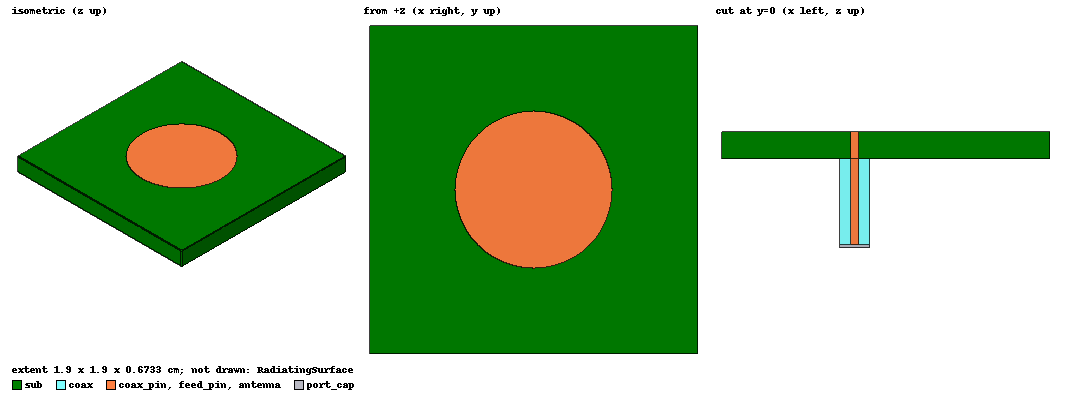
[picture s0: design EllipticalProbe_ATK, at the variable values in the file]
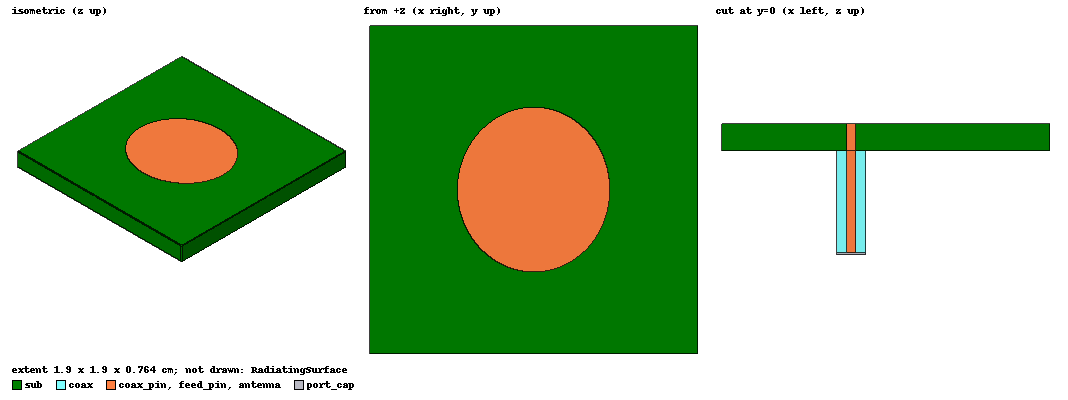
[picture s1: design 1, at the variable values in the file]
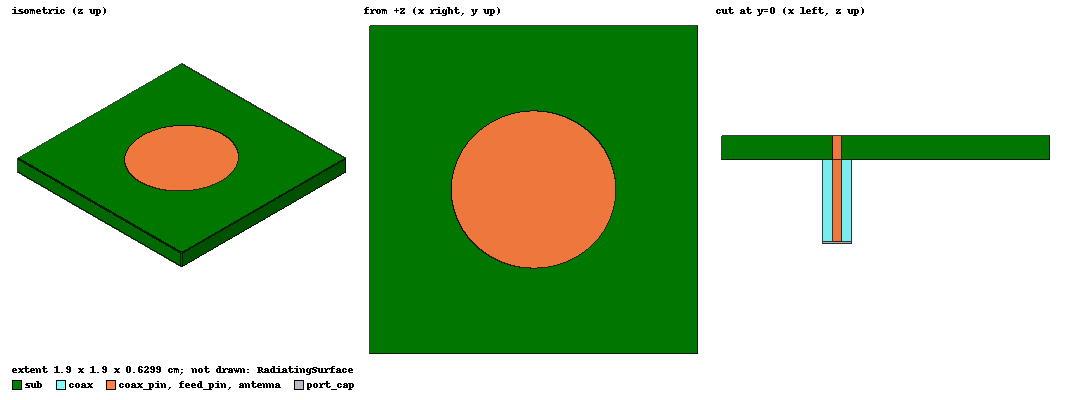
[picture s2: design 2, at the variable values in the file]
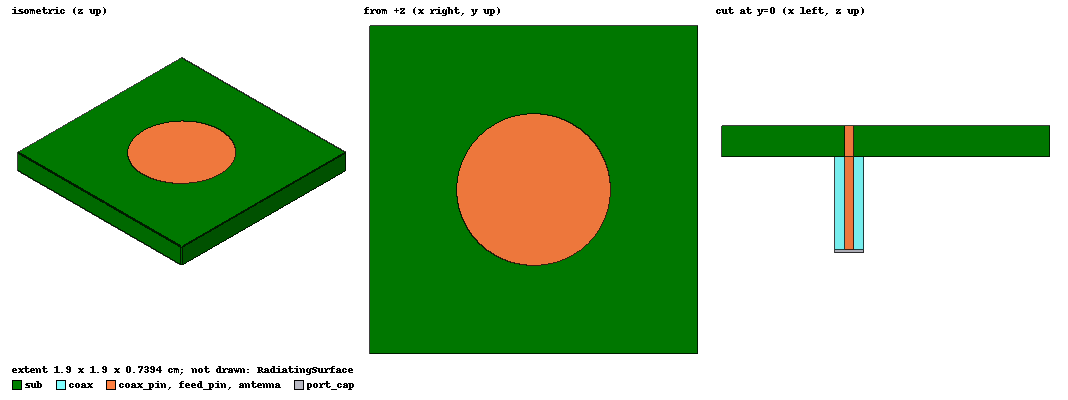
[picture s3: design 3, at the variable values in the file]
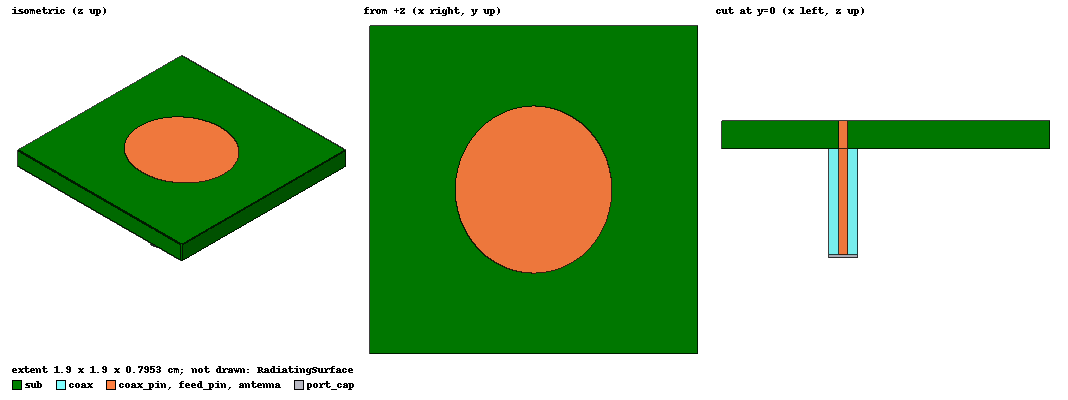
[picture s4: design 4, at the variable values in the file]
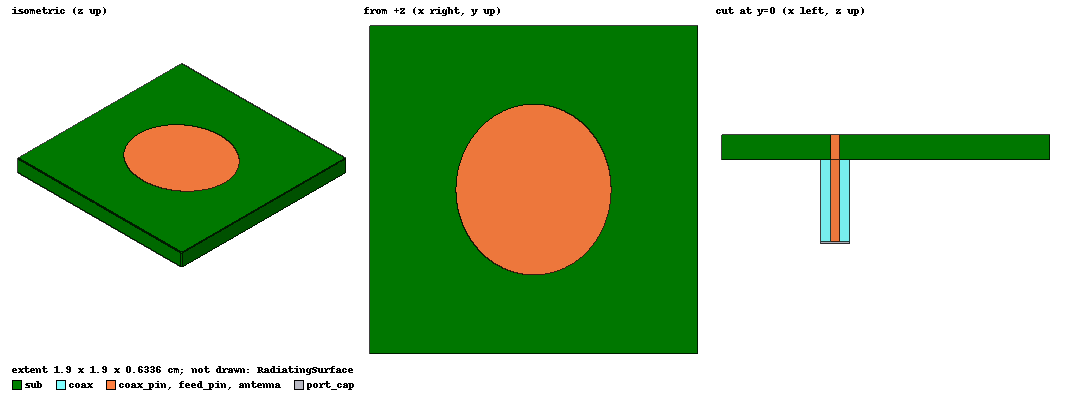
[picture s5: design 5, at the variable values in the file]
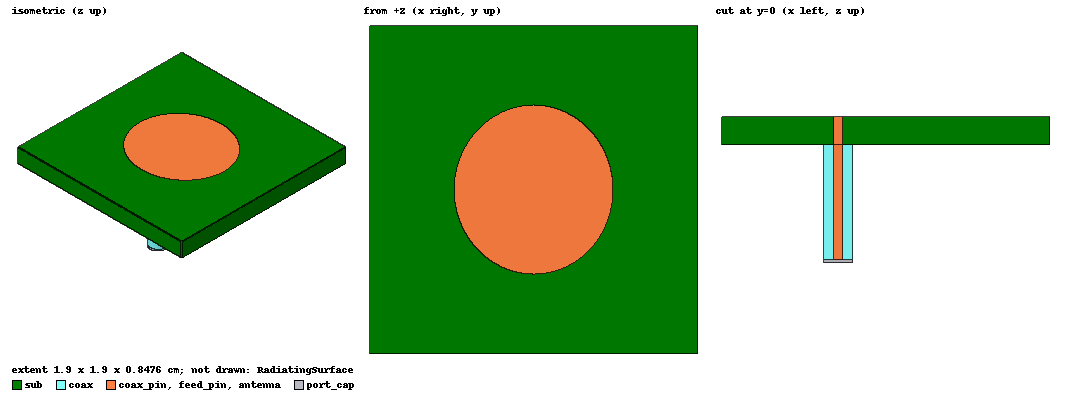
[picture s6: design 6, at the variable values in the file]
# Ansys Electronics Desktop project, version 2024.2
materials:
  vacuum: permittivity=1
  Duroid (tm): permittivity=2.2 dielectric_loss_tangent=0.0009
  pec: conductivity=1e+30
  Teflon (tm): permittivity=2.1 dielectric_loss_tangent=0.001

design EllipticalProbe_ATK (HFSS, HFSS Hybrid Terminal Network, model units cm)
options: Allow_Material_Override Save_Adaptive_support_files open_region{BoundaryType=0 OpFreq=12GHz}
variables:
  # --Antenna Dimensions
  patchX = 0.91cm
  patchY = 0.91cm
  # --Substrate Dimensions
  subH = 0.1575cm
  subX = 1.9cm
  subY = 1.9cm
  # --Feed Dimensions
  feedX = 0.18cm
  feedY = 0cm
  coax_inner_rad = 0.025cm
  coax_outer_rad = 0.085cm
  feedLength = 0.5cm
  design_freq = 10GHz
  gnd_x = 1.9cm
  gnd_y = 1.9cm
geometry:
  sub [Duroid (tm)] = box(corner=(-subX/2, -subY/2, 0cm), size=(subX, subY, subH))
  Ground = rectangle(corner=(-gnd_x/2, -gnd_y/2, 0cm), x_size=gnd_x, y_size=gnd_y)
  antenna = ellipse(normal=Z, centre=(0cm, 0cm, subH), major_radius=patchX/2, ratio=patchY/patchX)
  NewObject_BCY01R = circle(normal=Z, centre=(feedX, feedY, 0cm), radius=coax_outer_rad)
  Ground.subtract(NewObject_BCY01R)
  feed_pin [pec] = cylinder(axis=Z, base_centre=(feedX, feedY, 0cm), radius=coax_inner_rad, height=subH)
  coax_pin [pec] = cylinder(axis=Z, base_centre=(feedX, feedY, 0cm), radius=coax_inner_rad, height=-feedLength)
  coax [Teflon (tm)] = cylinder(axis=Z, base_centre=(feedX, feedY, 0cm), radius=coax_outer_rad, height=-feedLength)
  port_cap [pec] = cylinder(axis=Z, base_centre=(feedX, feedY, -feedLength), radius=coax_outer_rad, height=-subH/10)
  port1 = circle(normal=Z, centre=(feedX, feedY, -feedLength), radius=coax_outer_rad)
  RadiatingSurface [vacuum] = region(absolute_offset=0.83333333cm on all sides)
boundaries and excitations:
  antennaMetal: Perfect E Objects=antenna
  coax_outer: Perfect E Faces=coax.face(side)
  groundMetal: Perfect E Objects=Ground
  AutoOpen1: Radiation Objects=RadiatingSurface
  coax_pin_T1: Terminal port=1 Faces=coax_pin.face(-z end) TerminalResistance=50ohm
  1: Wave Port Faces=port1.face WavePortType=Terminal NumModes=1
  reference conductors: port_cap
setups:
  ATK_Solution: HfssDriven Frequency=12GHz MaxDeltaS=0.02 MaximumPasses=15 MinimumPasses=1 MinimumConvergedPasses=1 PercentRefinement=30 BasisOrder=1 PortAccuracy=2 DrivenSolverType="Direct Solver" IESolverType=ACA
    sweep SParam_Sweep: 6GHz to 18GHz step 0.05GHz; Type=Fast SaveFields
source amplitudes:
  1:1: 1V 0deg
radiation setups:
  3D: Infinite Sphere Theta=0deg..180deg step 90deg Phi=-180deg..180deg step 90deg
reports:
  S11: dB(St11) vs Freq on ATK_Solution : SParam_Sweep
  Gain: dB(GainTotal) vs Freq on ATK_Solution : SParam_Sweep, 3D [Phi=0deg Theta=0deg]

design 1 (HFSS, HFSS Hybrid Terminal Network, model units cm)
options: Allow_Material_Override Save_Adaptive_support_files open_region{BoundaryType=0 OpFreq=12GHz}
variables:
  # --Antenna Dimensions
  patchX = 0.883cm
  patchY = 0.955cm
  # --Substrate Dimensions
  subH = 0.16cm
  subX = 1.9cm
  subY = 1.9cm
  # --Feed Dimensions
  feedX = 0.199cm
  feedY = 0cm
  coax_inner_rad = 0.025cm
  coax_outer_rad = 0.085cm
  feedLength = 0.588cm
  design_freq = 10GHz
  gnd_x = 1.9cm
  gnd_y = 1.9cm
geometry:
  sub [Duroid (tm)] = box(corner=(-subX/2, -subY/2, 0cm), size=(subX, subY, subH))
  Ground = rectangle(corner=(-gnd_x/2, -gnd_y/2, 0cm), x_size=gnd_x, y_size=gnd_y)
  antenna = ellipse(normal=Z, centre=(0cm, 0cm, subH), major_radius=patchX/2, ratio=patchY/patchX)
  NewObject_BCY01R = circle(normal=Z, centre=(feedX, feedY, 0cm), radius=coax_outer_rad)
  Ground.subtract(NewObject_BCY01R)
  feed_pin [pec] = cylinder(axis=Z, base_centre=(feedX, feedY, 0cm), radius=coax_inner_rad, height=subH)
  coax_pin [pec] = cylinder(axis=Z, base_centre=(feedX, feedY, 0cm), radius=coax_inner_rad, height=-feedLength)
  coax [Teflon (tm)] = cylinder(axis=Z, base_centre=(feedX, feedY, 0cm), radius=coax_outer_rad, height=-feedLength)
  port_cap [pec] = cylinder(axis=Z, base_centre=(feedX, feedY, -feedLength), radius=coax_outer_rad, height=-subH/10)
  port1 = circle(normal=Z, centre=(feedX, feedY, -feedLength), radius=coax_outer_rad)
  RadiatingSurface [vacuum] = region(absolute_offset=0.83333333cm on all sides)
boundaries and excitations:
  antennaMetal: Perfect E Objects=antenna
  coax_outer: Perfect E Faces=coax.face(side)
  groundMetal: Perfect E Objects=Ground
  AutoOpen1: Radiation Objects=RadiatingSurface
  coax_pin_T1: Terminal port=1 Faces=coax_pin.face(-z end) TerminalResistance=50ohm
  1: Wave Port Faces=port1.face WavePortType=Terminal NumModes=1
  reference conductors: port_cap
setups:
  ATK_Solution: HfssDriven Frequency=12GHz MaxDeltaS=0.02 MaximumPasses=15 MinimumPasses=1 MinimumConvergedPasses=1 PercentRefinement=30 BasisOrder=1 PortAccuracy=2 DrivenSolverType="Direct Solver" IESolverType=ACA
    sweep SParam_Sweep: 6GHz to 18GHz step 0.05GHz; Type=Fast SaveFields
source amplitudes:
  1:1: 1V 0deg
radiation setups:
  3D: Infinite Sphere Theta=0deg..180deg step 90deg Phi=-180deg..180deg step 90deg
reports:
  S11: dB(St11) vs Freq on ATK_Solution : SParam_Sweep
  Gain: dB(GainTotal) vs Freq on ATK_Solution : SParam_Sweep, 3D [Phi=0deg Theta=0deg]

design 2 (HFSS, HFSS Hybrid Terminal Network, model units cm)
options: Allow_Material_Override Save_Adaptive_support_files open_region{BoundaryType=0 OpFreq=12GHz}
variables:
  # --Antenna Dimensions
  patchX = 0.954cm
  patchY = 0.912cm
  # --Substrate Dimensions
  subH = 0.139cm
  subX = 1.9cm
  subY = 1.9cm
  # --Feed Dimensions
  feedX = 0.282cm
  feedY = 0cm
  coax_inner_rad = 0.025cm
  coax_outer_rad = 0.085cm
  feedLength = 0.477cm
  design_freq = 10GHz
  gnd_x = 1.9cm
  gnd_y = 1.9cm
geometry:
  sub [Duroid (tm)] = box(corner=(-subX/2, -subY/2, 0cm), size=(subX, subY, subH))
  Ground = rectangle(corner=(-gnd_x/2, -gnd_y/2, 0cm), x_size=gnd_x, y_size=gnd_y)
  antenna = ellipse(normal=Z, centre=(0cm, 0cm, subH), major_radius=patchX/2, ratio=patchY/patchX)
  NewObject_BCY01R = circle(normal=Z, centre=(feedX, feedY, 0cm), radius=coax_outer_rad)
  Ground.subtract(NewObject_BCY01R)
  feed_pin [pec] = cylinder(axis=Z, base_centre=(feedX, feedY, 0cm), radius=coax_inner_rad, height=subH)
  coax_pin [pec] = cylinder(axis=Z, base_centre=(feedX, feedY, 0cm), radius=coax_inner_rad, height=-feedLength)
  coax [Teflon (tm)] = cylinder(axis=Z, base_centre=(feedX, feedY, 0cm), radius=coax_outer_rad, height=-feedLength)
  port_cap [pec] = cylinder(axis=Z, base_centre=(feedX, feedY, -feedLength), radius=coax_outer_rad, height=-subH/10)
  port1 = circle(normal=Z, centre=(feedX, feedY, -feedLength), radius=coax_outer_rad)
  RadiatingSurface [vacuum] = region(absolute_offset=0.83333333cm on all sides)
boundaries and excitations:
  antennaMetal: Perfect E Objects=antenna
  coax_outer: Perfect E Faces=coax.face(side)
  groundMetal: Perfect E Objects=Ground
  AutoOpen1: Radiation Objects=RadiatingSurface
  coax_pin_T1: Terminal port=1 Faces=coax_pin.face(-z end) TerminalResistance=50ohm
  1: Wave Port Faces=port1.face WavePortType=Terminal NumModes=1
  reference conductors: port_cap
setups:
  ATK_Solution: HfssDriven Frequency=12GHz MaxDeltaS=0.02 MaximumPasses=15 MinimumPasses=1 MinimumConvergedPasses=1 PercentRefinement=30 BasisOrder=1 PortAccuracy=2 DrivenSolverType="Direct Solver" IESolverType=ACA
    sweep SParam_Sweep: 6GHz to 18GHz step 0.05GHz; Type=Fast SaveFields
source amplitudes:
  1:1: 1V 0deg
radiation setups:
  3D: Infinite Sphere Theta=0deg..180deg step 90deg Phi=-180deg..180deg step 90deg
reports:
  S11: dB(St11) vs Freq on ATK_Solution : SParam_Sweep
  Gain: dB(GainTotal) vs Freq on ATK_Solution : SParam_Sweep, 3D [Phi=0deg Theta=0deg]

design 3 (HFSS, HFSS Hybrid Terminal Network, model units cm)
options: Allow_Material_Override Save_Adaptive_support_files open_region{BoundaryType=0 OpFreq=12GHz}
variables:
  # --Antenna Dimensions
  patchX = 0.892cm
  patchY = 0.88cm
  # --Substrate Dimensions
  subH = 0.184cm
  subX = 1.9cm
  subY = 1.9cm
  # --Feed Dimensions
  feedX = 0.213cm
  feedY = 0cm
  coax_inner_rad = 0.025cm
  coax_outer_rad = 0.085cm
  feedLength = 0.537cm
  design_freq = 10GHz
  gnd_x = 1.9cm
  gnd_y = 1.9cm
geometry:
  sub [Duroid (tm)] = box(corner=(-subX/2, -subY/2, 0cm), size=(subX, subY, subH))
  Ground = rectangle(corner=(-gnd_x/2, -gnd_y/2, 0cm), x_size=gnd_x, y_size=gnd_y)
  antenna = ellipse(normal=Z, centre=(0cm, 0cm, subH), major_radius=patchX/2, ratio=patchY/patchX)
  NewObject_BCY01R = circle(normal=Z, centre=(feedX, feedY, 0cm), radius=coax_outer_rad)
  Ground.subtract(NewObject_BCY01R)
  feed_pin [pec] = cylinder(axis=Z, base_centre=(feedX, feedY, 0cm), radius=coax_inner_rad, height=subH)
  coax_pin [pec] = cylinder(axis=Z, base_centre=(feedX, feedY, 0cm), radius=coax_inner_rad, height=-feedLength)
  coax [Teflon (tm)] = cylinder(axis=Z, base_centre=(feedX, feedY, 0cm), radius=coax_outer_rad, height=-feedLength)
  port_cap [pec] = cylinder(axis=Z, base_centre=(feedX, feedY, -feedLength), radius=coax_outer_rad, height=-subH/10)
  port1 = circle(normal=Z, centre=(feedX, feedY, -feedLength), radius=coax_outer_rad)
  RadiatingSurface [vacuum] = region(absolute_offset=0.83333333cm on all sides)
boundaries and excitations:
  antennaMetal: Perfect E Objects=antenna
  coax_outer: Perfect E Faces=coax.face(side)
  groundMetal: Perfect E Objects=Ground
  AutoOpen1: Radiation Objects=RadiatingSurface
  coax_pin_T1: Terminal port=1 Faces=coax_pin.face(-z end) TerminalResistance=50ohm
  1: Wave Port Faces=port1.face WavePortType=Terminal NumModes=1
  reference conductors: port_cap
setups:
  ATK_Solution: HfssDriven Frequency=12GHz MaxDeltaS=0.02 MaximumPasses=15 MinimumPasses=1 MinimumConvergedPasses=1 PercentRefinement=30 BasisOrder=1 PortAccuracy=2 DrivenSolverType="Direct Solver" IESolverType=ACA
    sweep SParam_Sweep: 6GHz to 18GHz step 0.05GHz; Type=Fast SaveFields
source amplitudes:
  1:1: 1V 0deg
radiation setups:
  3D: Infinite Sphere Theta=0deg..180deg step 90deg Phi=-180deg..180deg step 90deg
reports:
  S11: dB(St11) vs Freq on ATK_Solution : SParam_Sweep
  Gain: dB(GainTotal) vs Freq on ATK_Solution : SParam_Sweep, 3D [Phi=0deg Theta=0deg]

design 4 (HFSS, HFSS Hybrid Terminal Network, model units cm)
options: Allow_Material_Override Save_Adaptive_support_files open_region{BoundaryType=0 OpFreq=12GHz}
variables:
  # --Antenna Dimensions
  patchX = 0.908cm
  patchY = 0.969cm
  # --Substrate Dimensions
  subH = 0.163cm
  subX = 1.9cm
  subY = 1.9cm
  # --Feed Dimensions
  feedX = 0.246cm
  feedY = 0cm
  coax_inner_rad = 0.025cm
  coax_outer_rad = 0.085cm
  feedLength = 0.616cm
  design_freq = 10GHz
  gnd_x = 1.9cm
  gnd_y = 1.9cm
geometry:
  sub [Duroid (tm)] = box(corner=(-subX/2, -subY/2, 0cm), size=(subX, subY, subH))
  Ground = rectangle(corner=(-gnd_x/2, -gnd_y/2, 0cm), x_size=gnd_x, y_size=gnd_y)
  antenna = ellipse(normal=Z, centre=(0cm, 0cm, subH), major_radius=patchX/2, ratio=patchY/patchX)
  NewObject_BCY01R = circle(normal=Z, centre=(feedX, feedY, 0cm), radius=coax_outer_rad)
  Ground.subtract(NewObject_BCY01R)
  feed_pin [pec] = cylinder(axis=Z, base_centre=(feedX, feedY, 0cm), radius=coax_inner_rad, height=subH)
  coax_pin [pec] = cylinder(axis=Z, base_centre=(feedX, feedY, 0cm), radius=coax_inner_rad, height=-feedLength)
  coax [Teflon (tm)] = cylinder(axis=Z, base_centre=(feedX, feedY, 0cm), radius=coax_outer_rad, height=-feedLength)
  port_cap [pec] = cylinder(axis=Z, base_centre=(feedX, feedY, -feedLength), radius=coax_outer_rad, height=-subH/10)
  port1 = circle(normal=Z, centre=(feedX, feedY, -feedLength), radius=coax_outer_rad)
  RadiatingSurface [vacuum] = region(absolute_offset=0.83333333cm on all sides)
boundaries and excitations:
  antennaMetal: Perfect E Objects=antenna
  coax_outer: Perfect E Faces=coax.face(side)
  groundMetal: Perfect E Objects=Ground
  AutoOpen1: Radiation Objects=RadiatingSurface
  coax_pin_T1: Terminal port=1 Faces=coax_pin.face(-z end) TerminalResistance=50ohm
  1: Wave Port Faces=port1.face WavePortType=Terminal NumModes=1
  reference conductors: port_cap
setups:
  ATK_Solution: HfssDriven Frequency=12GHz MaxDeltaS=0.02 MaximumPasses=15 MinimumPasses=1 MinimumConvergedPasses=1 PercentRefinement=30 BasisOrder=1 PortAccuracy=2 DrivenSolverType="Direct Solver" IESolverType=ACA
    sweep SParam_Sweep: 6GHz to 18GHz step 0.05GHz; Type=Fast SaveFields
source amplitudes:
  1:1: 1V 0deg
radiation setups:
  3D: Infinite Sphere Theta=0deg..180deg step 90deg Phi=-180deg..180deg step 90deg
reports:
  S11: dB(St11) vs Freq on ATK_Solution : SParam_Sweep
  Gain: dB(GainTotal) vs Freq on ATK_Solution : SParam_Sweep, 3D [Phi=0deg Theta=0deg]

design 5 (HFSS, HFSS Hybrid Terminal Network, model units cm)
options: Allow_Material_Override Save_Adaptive_support_files open_region{BoundaryType=0 OpFreq=12GHz}
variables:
  # --Antenna Dimensions
  patchX = 0.9cm
  patchY = 0.99cm
  # --Substrate Dimensions
  subH = 0.146cm
  subX = 1.9cm
  subY = 1.9cm
  # --Feed Dimensions
  feedX = 0.292cm
  feedY = 0cm
  coax_inner_rad = 0.025cm
  coax_outer_rad = 0.085cm
  feedLength = 0.473cm
  design_freq = 10GHz
  gnd_x = 1.9cm
  gnd_y = 1.9cm
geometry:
  sub [Duroid (tm)] = box(corner=(-subX/2, -subY/2, 0cm), size=(subX, subY, subH))
  Ground = rectangle(corner=(-gnd_x/2, -gnd_y/2, 0cm), x_size=gnd_x, y_size=gnd_y)
  antenna = ellipse(normal=Z, centre=(0cm, 0cm, subH), major_radius=patchX/2, ratio=patchY/patchX)
  NewObject_BCY01R = circle(normal=Z, centre=(feedX, feedY, 0cm), radius=coax_outer_rad)
  Ground.subtract(NewObject_BCY01R)
  feed_pin [pec] = cylinder(axis=Z, base_centre=(feedX, feedY, 0cm), radius=coax_inner_rad, height=subH)
  coax_pin [pec] = cylinder(axis=Z, base_centre=(feedX, feedY, 0cm), radius=coax_inner_rad, height=-feedLength)
  coax [Teflon (tm)] = cylinder(axis=Z, base_centre=(feedX, feedY, 0cm), radius=coax_outer_rad, height=-feedLength)
  port_cap [pec] = cylinder(axis=Z, base_centre=(feedX, feedY, -feedLength), radius=coax_outer_rad, height=-subH/10)
  port1 = circle(normal=Z, centre=(feedX, feedY, -feedLength), radius=coax_outer_rad)
  RadiatingSurface [vacuum] = region(absolute_offset=0.83333333cm on all sides)
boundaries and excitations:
  antennaMetal: Perfect E Objects=antenna
  coax_outer: Perfect E Faces=coax.face(side)
  groundMetal: Perfect E Objects=Ground
  AutoOpen1: Radiation Objects=RadiatingSurface
  coax_pin_T1: Terminal port=1 Faces=coax_pin.face(-z end) TerminalResistance=50ohm
  1: Wave Port Faces=port1.face WavePortType=Terminal NumModes=1
  reference conductors: port_cap
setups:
  ATK_Solution: HfssDriven Frequency=12GHz MaxDeltaS=0.02 MaximumPasses=15 MinimumPasses=1 MinimumConvergedPasses=1 PercentRefinement=30 BasisOrder=1 PortAccuracy=2 DrivenSolverType="Direct Solver" IESolverType=ACA
    sweep SParam_Sweep: 6GHz to 18GHz step 0.05GHz; Type=Fast SaveFields
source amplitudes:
  1:1: 1V 0deg
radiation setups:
  3D: Infinite Sphere Theta=0deg..180deg step 90deg Phi=-180deg..180deg step 90deg
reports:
  S11: dB(St11) vs Freq on ATK_Solution : SParam_Sweep
  Gain: dB(GainTotal) vs Freq on ATK_Solution : SParam_Sweep, 3D [Phi=0deg Theta=0deg]

design 6 (HFSS, HFSS Hybrid Terminal Network, model units cm)
options: Allow_Material_Override Save_Adaptive_support_files open_region{BoundaryType=0 OpFreq=12GHz}
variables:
  # --Antenna Dimensions
  patchX = 0.921cm
  patchY = 0.98cm
  # --Substrate Dimensions
  subH = 0.166cm
  subX = 1.9cm
  subY = 1.9cm
  # --Feed Dimensions
  feedX = 0.276cm
  feedY = 0cm
  coax_inner_rad = 0.025cm
  coax_outer_rad = 0.085cm
  feedLength = 0.665cm
  design_freq = 10GHz
  gnd_x = 1.9cm
  gnd_y = 1.9cm
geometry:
  sub [Duroid (tm)] = box(corner=(-subX/2, -subY/2, 0cm), size=(subX, subY, subH))
  Ground = rectangle(corner=(-gnd_x/2, -gnd_y/2, 0cm), x_size=gnd_x, y_size=gnd_y)
  antenna = ellipse(normal=Z, centre=(0cm, 0cm, subH), major_radius=patchX/2, ratio=patchY/patchX)
  NewObject_BCY01R = circle(normal=Z, centre=(feedX, feedY, 0cm), radius=coax_outer_rad)
  Ground.subtract(NewObject_BCY01R)
  feed_pin [pec] = cylinder(axis=Z, base_centre=(feedX, feedY, 0cm), radius=coax_inner_rad, height=subH)
  coax_pin [pec] = cylinder(axis=Z, base_centre=(feedX, feedY, 0cm), radius=coax_inner_rad, height=-feedLength)
  coax [Teflon (tm)] = cylinder(axis=Z, base_centre=(feedX, feedY, 0cm), radius=coax_outer_rad, height=-feedLength)
  port_cap [pec] = cylinder(axis=Z, base_centre=(feedX, feedY, -feedLength), radius=coax_outer_rad, height=-subH/10)
  port1 = circle(normal=Z, centre=(feedX, feedY, -feedLength), radius=coax_outer_rad)
  RadiatingSurface [vacuum] = region(absolute_offset=0.83333333cm on all sides)
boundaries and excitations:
  antennaMetal: Perfect E Objects=antenna
  coax_outer: Perfect E Faces=coax.face(side)
  groundMetal: Perfect E Objects=Ground
  AutoOpen1: Radiation Objects=RadiatingSurface
  coax_pin_T1: Terminal port=1 Faces=coax_pin.face(-z end) TerminalResistance=50ohm
  1: Wave Port Faces=port1.face WavePortType=Terminal NumModes=1
  reference conductors: port_cap
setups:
  ATK_Solution: HfssDriven Frequency=12GHz MaxDeltaS=0.02 MaximumPasses=15 MinimumPasses=1 MinimumConvergedPasses=1 PercentRefinement=30 BasisOrder=1 PortAccuracy=2 DrivenSolverType="Direct Solver" IESolverType=ACA
    sweep SParam_Sweep: 6GHz to 18GHz step 0.05GHz; Type=Fast SaveFields
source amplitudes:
  1:1: 1V 0deg
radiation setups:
  3D: Infinite Sphere Theta=0deg..180deg step 90deg Phi=-180deg..180deg step 90deg
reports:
  S11: dB(St11) vs Freq on ATK_Solution : SParam_Sweep
  Gain: dB(GainTotal) vs Freq on ATK_Solution : SParam_Sweep, 3D [Phi=0deg Theta=0deg]
